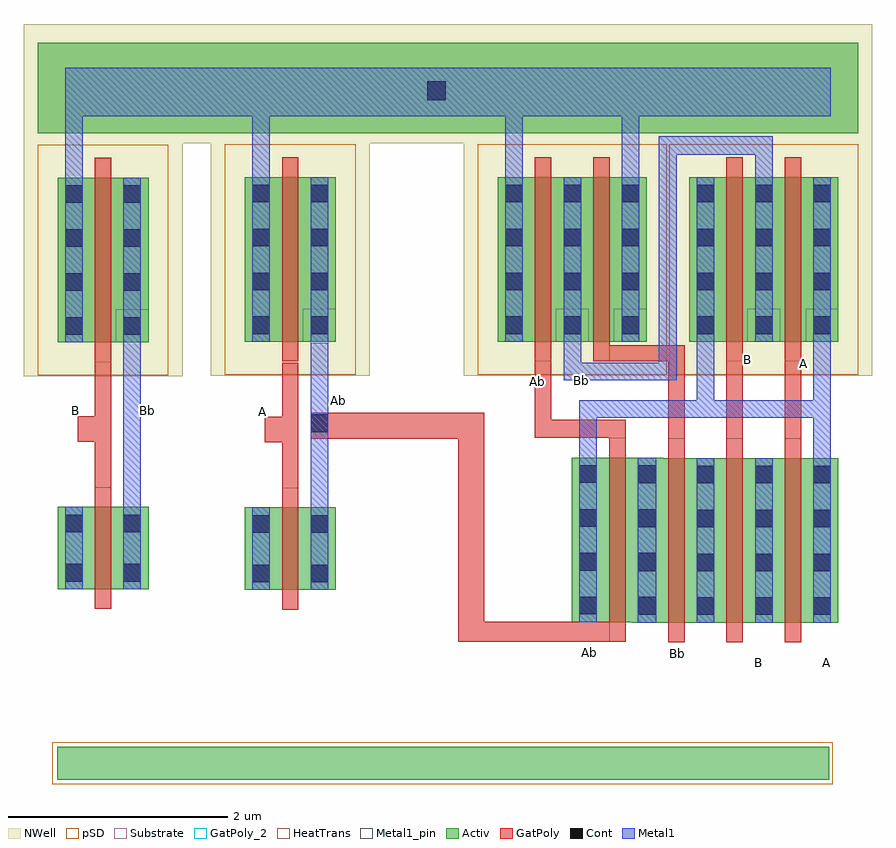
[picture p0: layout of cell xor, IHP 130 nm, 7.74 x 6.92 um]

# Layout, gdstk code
from math import pi, radians
import gdstk
lib = gdstk.Library(unit=1e-6, precision=5e-09)
def R(c, l, rs):  # rectangles x0, y0, x1, y1
    for r in rs: c.add(gdstk.rectangle(r[:2], r[2:], *l))
def A(c, l, x, y, w, h, nx, ny, dx, dy):  # array of equal rectangles
    R(c, l, [(x+i*dx, y+j*dy, x+i*dx+w, y+j*dy+h) for i in range(nx) for j in range(ny)])
def P(c, l, *ps):  # polygons
    for p in ps: c.add(gdstk.Polygon(p, *l))
Activ = (1, 0)
GatPoly = (5, 0)
GatPoly_2 = (5, 2)
Cont = (6, 0)
Metal1 = (8, 0)
Metal1_pin = (8, 2)
pSD = (14, 0)
NWell = (31, 0)
Substrate = (40, 0)
HeatTrans = (51, 0)

pmos_1 = lib.new_cell('pmos$1')
R(pmos_1, Activ, [(0,0,0.3,0.3), (0,0,0.83,1.5), (0.53,0,0.83,0.3)])
R(pmos_1, GatPoly, [(0.34,-0.18,0.49,1.68), (0.34,-0.18,0.49,1.68)])
A(pmos_1, Cont, 0.07, 0.07, 0.16, 0.16, 1, 4, 0, 0.4)
A(pmos_1, Cont, 0.6, 0.07, 0.16, 0.16, 1, 4, 0, 0.4)
R(pmos_1, Metal1, [(0.07,0,0.23,1.5), (0.07,0,0.23,1.5), (0.6,0,0.76,1.5), (0.6,0,0.76,1.5)])
R(pmos_1, pSD, [(-0.18,-0.3,1.01,1.8)])
R(pmos_1, NWell, [(-0.31,-0.31,1.14,1.81)])
R(pmos_1, Substrate, [(0.53,0,0.83,0.3)])
R(pmos_1, HeatTrans, [(0.34,-0.18,0.49,1.68)])
pmos_1.add(gdstk.Label('pmos', (0.415,0.75), layer=63, texttype=0))
pmos_1.add(gdstk.Label('pmos', (0.415,0.75), layer=51, texttype=0))

nmos_1 = lib.new_cell('nmos$1')
R(nmos_1, Activ, [(0,0,0.3,0.3), (0,0,0.83,1.5), (0.53,0,0.83,0.3)])
R(nmos_1, GatPoly, [(0.34,-0.18,0.49,1.68)])
R(nmos_1, GatPoly_2, [(0.34,-0.18,0.49,1.68)])
A(nmos_1, Cont, 0.07, 0.07, 0.16, 0.16, 1, 4, 0, 0.4)
A(nmos_1, Cont, 0.6, 0.07, 0.16, 0.16, 1, 4, 0, 0.4)
R(nmos_1, Metal1, [(0.07,0,0.23,1.5), (0.6,0,0.76,1.5)])
R(nmos_1, Metal1_pin, [(0.07,0,0.23,1.5), (0.6,0,0.76,1.5)])
R(nmos_1, HeatTrans, [(0.34,-0.18,0.49,1.68)])
nmos_1.add(gdstk.Label('nmos', (0.415,0.75), layer=63, texttype=0))
nmos_1.add(gdstk.Label('nmos', (0.415,0.75), layer=51, texttype=0))

nmos = lib.new_cell('nmos')
R(nmos, Activ, [(0,0,0.3,0.3), (0,0,0.83,0.75), (0.53,0,0.83,0.3)])
R(nmos, GatPoly, [(0.34,-0.18,0.49,0.93)])
R(nmos, GatPoly_2, [(0.34,-0.18,0.49,0.93)])
R(nmos, Cont, [(0.07,0.07,0.23,0.23), (0.6,0.07,0.76,0.23), (0.07,0.52,0.23,0.68), (0.6,0.52,0.76,0.68)])
R(nmos, Metal1, [(0.07,0,0.23,0.75), (0.6,0,0.76,0.75)])
R(nmos, Metal1_pin, [(0.07,0,0.23,0.75), (0.6,0,0.76,0.75)])
R(nmos, HeatTrans, [(0.34,-0.18,0.49,0.93)])
nmos.add(gdstk.Label('nmos', (0.415,0.375), layer=63, texttype=0))
nmos.add(gdstk.Label('nmos', (0.415,0.375), layer=51, texttype=0))

xor = lib.new_cell('xor')
R(xor, Activ, [(-19.675,4.92,-12.64,5.22), (-19.675,4.92,-12.64,5.22), (-19.85,10.81,-12.375,11.635), (-19.85,10.81,-12.375,11.635)])
R(xor, GatPoly, [(-17.625,7.58,-17.475,8.72), (-17.625,7.58,-17.475,8.72), (-19.33,7.585,-19.18,8.725), (-19.33,7.585,-19.18,8.725), (-17.78,7.995,-17.575,8.225), (-17.78,7.995,-17.575,8.225), (-19.485,8,-19.28,8.23), (-19.485,8,-19.28,8.23), (-13.575,8.03,-13.425,8.73), (-13.575,8.03,-13.425,8.73), (-13.045,8.03,-12.895,8.73), (-13.045,8.03,-12.895,8.73)])
P(xor, GatPoly, [(-15.32,8.035),(-15.32,8.73),(-15.17,8.73),(-15.17,8.2),(-14.495,8.2),(-14.495,8.035)],
  [(-14.105,8.03),(-14.105,8.73),(-14.79,8.73),(-14.79,8.88),(-13.955,8.88),(-13.955,8.03)],
  [(-14.105,8.03),(-14.105,8.73),(-14.79,8.73),(-14.79,8.88),(-13.955,8.88),(-13.955,8.03)],
  [(-15.32,8.035),(-15.32,8.73),(-15.17,8.73),(-15.17,8.2),(-14.495,8.2),(-14.495,8.035)],
  [(-16.02,6.175),(-16.02,8.025),(-17.365,8.025),(-17.365,8.265),(-15.78,8.265),(-15.78,6.36),(-14.495,6.36),(-14.495,6.175)])
R(xor, Cont, [(-17.365,8.085,-17.205,8.25), (-16.3,11.11,-16.135,11.285), (-16.3,11.11,-16.135,11.285)])
R(xor, Metal1, [(-17.365,7.4,-17.205,8.9), (-17.365,7.4,-17.205,8.9), (-19.07,7.405,-18.91,8.905), (-19.07,7.405,-18.91,8.905)])
P(xor, Metal1, [(-15.06,8.56),(-15.06,8.91),(-14.9,8.91),(-14.9,8.72),(-14.19,8.72),(-14.19,10.78),(-14.03,10.78),(-13.155,10.78),(-13.155,10.41),(-13.315,10.41),(-13.315,10.615),(-14.03,10.615),(-14.03,8.56)],
  [(-19.6,10.405),(-19.6,10.965),(-19.6,11.405),(-12.625,11.405),(-12.625,10.965),(-14.37,10.965),(-14.37,10.405),(-14.53,10.405),(-14.53,10.965),(-15.43,10.965),(-15.43,10.405),(-15.59,10.405),(-15.59,10.965),(-17.735,10.965),(-17.735,10.41),(-17.895,10.41),(-17.895,10.965),(-19.44,10.965),(-19.44,10.405)],
  [(-12.785,7.85),(-12.785,8.215),(-14.755,8.215),(-14.755,7.855),(-14.915,7.855),(-14.915,8.375),(-13.845,8.375),(-13.845,8.91),(-13.685,8.91),(-13.685,8.375),(-12.785,8.375),(-12.785,8.91),(-12.625,8.91),(-12.625,7.85)],
  [(-12.785,7.85),(-12.785,8.215),(-14.755,8.215),(-14.755,7.855),(-14.915,7.855),(-14.915,8.375),(-13.845,8.375),(-13.845,8.91),(-13.685,8.91),(-13.685,8.375),(-12.785,8.375),(-12.785,8.91),(-12.625,8.91),(-12.625,7.85)],
  [(-19.6,10.405),(-19.6,10.965),(-19.6,11.405),(-12.625,11.405),(-12.625,10.965),(-14.37,10.965),(-14.37,10.405),(-14.53,10.405),(-14.53,10.965),(-15.43,10.965),(-15.43,10.405),(-15.59,10.405),(-15.59,10.965),(-17.735,10.965),(-17.735,10.41),(-17.895,10.41),(-17.895,10.965),(-19.44,10.965),(-19.44,10.405)],
  [(-15.06,8.56),(-15.06,8.91),(-14.9,8.91),(-14.9,8.72),(-14.19,8.72),(-14.19,10.78),(-14.03,10.78),(-13.155,10.78),(-13.155,10.41),(-13.315,10.41),(-13.315,10.615),(-14.03,10.615),(-14.03,8.56)])
R(xor, pSD, [(-19.72,4.88,-12.605,5.26), (-19.72,4.88,-12.605,5.26)])
R(xor, NWell, [(-19.98,10.72,-12.245,11.805), (-19.98,10.72,-12.245,11.805)])
xor.add(gdstk.Reference(pmos_1, (-13.915,8.91)))
xor.add(gdstk.Reference(pmos_1, (-13.385,8.91)))
xor.add(gdstk.Reference(nmos_1, (-13.915,6.35)))
xor.add(gdstk.Reference(nmos_1, (-13.385,6.35)))
xor.add(gdstk.Reference(nmos_1, (-14.985,6.355)))
xor.add(gdstk.Reference(nmos_1, (-14.445,6.35)))
xor.add(gdstk.Reference(pmos_1, (-15.13,8.91)))
xor.add(gdstk.Reference(nmos, (-17.135,7.4), rotation=pi))
xor.add(gdstk.Reference(pmos_1, (-17.965,8.91)))
xor.add(gdstk.Reference(pmos_1, (-15.66,8.91)))
xor.add(gdstk.Reference(nmos, (-18.84,7.405), rotation=pi))
xor.add(gdstk.Reference(pmos_1, (-19.67,8.905)))
xor.add(gdstk.Reference(pmos_1, (-13.915,8.91)))
xor.add(gdstk.Reference(pmos_1, (-13.385,8.91)))
xor.add(gdstk.Reference(nmos_1, (-13.915,6.35)))
xor.add(gdstk.Reference(nmos_1, (-13.385,6.35)))
xor.add(gdstk.Reference(nmos_1, (-14.985,6.355)))
xor.add(gdstk.Reference(nmos_1, (-14.445,6.35)))
xor.add(gdstk.Reference(pmos_1, (-15.13,8.91)))
xor.add(gdstk.Reference(nmos, (-17.135,7.4), rotation=pi))
xor.add(gdstk.Reference(pmos_1, (-17.965,8.91)))
xor.add(gdstk.Reference(pmos_1, (-15.66,8.91)))
xor.add(gdstk.Reference(nmos, (-18.84,7.405), rotation=pi))
xor.add(gdstk.Reference(pmos_1, (-19.67,8.905)))
xor.add(gdstk.Label('B', (-13.285,5.985), layer=63, texttype=0))
xor.add(gdstk.Label('A', (-12.665,5.985), layer=63, texttype=0))
xor.add(gdstk.Label('Bb', (-14.025,6.065), layer=63, texttype=0))
xor.add(gdstk.Label('Ab', (-14.82,6.075), layer=63, texttype=0))
xor.add(gdstk.Label('A', (-12.87,8.71), layer=63, texttype=0))
xor.add(gdstk.Label('B', (-13.38,8.745), layer=63, texttype=0))
xor.add(gdstk.Label('Bb', (-18.85,8.285), layer=63, texttype=0))
xor.add(gdstk.Label('B', (-19.51,8.28), layer=63, texttype=0))
xor.add(gdstk.Label('Ab', (-17.11,8.37), layer=63, texttype=0))
xor.add(gdstk.Label('A', (-17.8,8.27), layer=63, texttype=0))
xor.add(gdstk.Label('Ab', (-15.3,8.545), layer=63, texttype=0))
xor.add(gdstk.Label('Bb', (-14.9,8.56), layer=63, texttype=0))
xor.add(gdstk.Label('Bb', (-14.9,8.56), layer=63, texttype=0))
xor.add(gdstk.Label('Ab', (-15.3,8.545), layer=63, texttype=0))
xor.add(gdstk.Label('A', (-17.8,8.27), layer=63, texttype=0))
xor.add(gdstk.Label('Ab', (-17.11,8.37), layer=63, texttype=0))
xor.add(gdstk.Label('B', (-19.51,8.28), layer=63, texttype=0))
xor.add(gdstk.Label('Bb', (-18.85,8.285), layer=63, texttype=0))
xor.add(gdstk.Label('B', (-13.38,8.745), layer=63, texttype=0))
xor.add(gdstk.Label('A', (-12.87,8.71), layer=63, texttype=0))
xor.add(gdstk.Label('Ab', (-14.82,6.075), layer=63, texttype=0))
xor.add(gdstk.Label('Bb', (-14.025,6.065), layer=63, texttype=0))
xor.add(gdstk.Label('A', (-12.665,5.985), layer=63, texttype=0))
xor.add(gdstk.Label('B', (-13.285,5.985), layer=63, texttype=0))

lib.write_gds('xor.gds')
